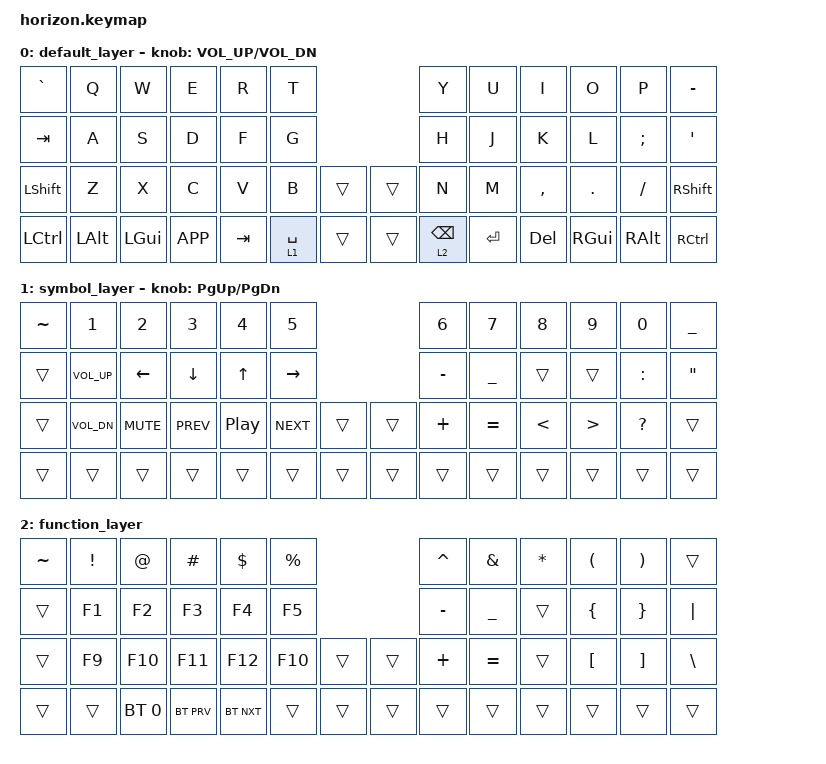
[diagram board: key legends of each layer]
/*
 * Copyright (c) 2021 The ZMK Contributors
 *
 * SPDX-License-Identifier: MIT
 */

#include <behaviors.dtsi>
#include <dt-bindings/zmk/keys.h>
#include <dt-bindings/zmk/bt.h>

#define DEF 0
#define SYM 1
#define FUN 2

&left_encoder { status = "okay"; resolution = <2>; };

/ {

    combos {
        compatible = "zmk,combos";
        combo_esc {
            timeout-ms = <50>;
            key-positions = <1 2>;
            bindings = <&kp ESC>;
            };
         };
    combos {
        compatible = "zmk,combos";
        combo_layer {
            timeout-ms = <50>;
            key-positions = <38 39>;
            bindings = <&mo 3>;
            };
         };

    keymap {
        compatible = "zmk,keymap";

        default_layer {
            // -----------------------------------------------------------------------------------------------------------------
            // | `ESC  | Q,ESC |   W   |   E   |   R   |   T   |---------------|   Y   |   U   |   I   |   O   |   P   |   -   |
            // |  TAB  |   A   |   S   |   D   |   F   |   G   |---------------|   H   |   J   |   K   |   L   |   ;   |   '   |
            // | LSHFT |   Z   |   X   |   C   |   V   |   B   |       |       |   N   |   M   |   ,   |   .   |   /   | RSHFT |
            // | LCTRL | LALT  | LGUI  | K_APP |  TAB  |SPC/LWR|       |       |BSP/RSE| ENTER |  DEL  | RGUI  | RALT  | RCTRL |
            bindings = <
                &kp GRAVE &kp Q    &kp W    &kp E     &kp R   &kp T                          &kp Y      &kp U     &kp I     &kp O    &kp P     &kp MINUS
                &kp TAB   &kp A    &kp S    &kp D     &kp F   &kp G                          &kp H      &kp J     &kp K     &kp L    &kp SEMI  &kp SQT
                &kp LSHFT &kp Z    &kp X    &kp C     &kp V   &kp B        &trans &trans     &kp N      &kp M     &kp COMMA &kp DOT  &kp SLASH &kp RSHFT
                &kp LCTRL &kp LALT &kp LGUI &kp K_APP &kp TAB &lt 1 SPACE  &trans &trans     &lt 2 BSPC &kp ENTER &kp DEL   &kp RGUI &kp RALT  &kp RCTRL
            >;
            
			sensor-bindings = <&inc_dec_kp C_VOL_UP C_VOL_DN>;   // encoders
        };

        symbol_layer {
            // -----------------------------------------------------------------------------------------------------------------
            // |   ~   |   1   |   2   |   3   |   4   |   5   |---------------|   6   |   7   |   8   |   9   |   0   |   _   |
            // |  TAB  | VOLUP | LEFT  | DOWN  |  UP   | RIGHT |---------------|   -   |   _   |       |       |   :   |   "   |
            // | LSHFT | VOLDN | MUTE  | PREV  |  PP   |  NXT  |       |       |   +   |   =   |   <   |   >   |   ?   | RSHFT |
            // | LCTRL | LALT  | LGUI  | K_APP |  TAB  |SPC/LWR|       |       |BSP/RSE|  DEL  | K_APP | RGUI  | RALT  | RCTRL |
            bindings = <
                &kp TILDE &kp N1        &kp N2     &kp N3      &kp N4   &kp N5                       &kp N6     &kp N7     &kp N8    &kp N9   &kp N0    &kp UNDER
                &trans    &kp K_VOL_UP  &kp LEFT   &kp DOWN    &kp UP   &kp RIGHT                    &kp MINUS  &kp UNDER  &trans    &trans   &kp COLON &kp DQT
                &trans    &kp K_VOL_DN  &kp K_MUTE &kp C_PREV  &kp C_PP &kp C_NEXT  &trans  &trans   &kp PLUS   &kp EQUAL  &kp LT    &kp GT   &kp QMARK &trans
                &trans    &trans        &trans     &trans      &trans   &trans      &trans  &trans   &trans     &trans     &trans    &trans   &trans    &trans
            >;

			sensor-bindings = <&inc_dec_kp PG_UP PG_DN>;   // encoders
        };

        function_layer {
            // -----------------------------------------------------------------------------------------------------------------
            // |   ~   |   !   |   @   |   #   |   $   |   %   |---------------|   ^   |   &   |   *   |   (   |   )   |   -   |
            // |  F11  |  F1   |  F2   |  F3   |  F4   |  F5   |---------------|   -   |   _   |       |   {   |   }   |   |   |
            // |  F12  |  F6   |  F7   |  F8   |  F9   |  F10  |       |       |   +   |   =   |       |   [   |   ]   |   \   |
            // | LCTRL | LALT  |BT_SEL0| BT_PRV| BT_NXT|SPC/LWR|       |       |BSP/RSE|  DEL  | K_APP | RGUI  | RALT  | RCTRL |
            bindings = <
                &kp TILDE &kp EXCL &kp AT        &kp HASH    &kp DLLR   &kp PRCNT                  &kp CARET  &kp AMPS    &kp STAR  &kp LPAR  &kp RPAR  &trans
                &trans    &kp F1   &kp F2        &kp F3      &kp F4     &kp F5                     &kp MINUS  &kp UNDER   &trans    &kp LBRC  &kp RBRC  &kp PIPE
                &trans    &kp F9   &kp F10       &kp F11     &kp F12    &kp F10   &trans  &trans   &kp PLUS   &kp EQUAL   &trans    &kp LBKT  &kp RBKT  &kp BSLH
                &trans    &trans   &bt BT_SEL 0  &bt BT_PRV  &bt BT_NXT &trans    &trans  &trans   &trans     &trans      &trans    &trans    &trans    &trans
            >; 
        };
    };
}; 
